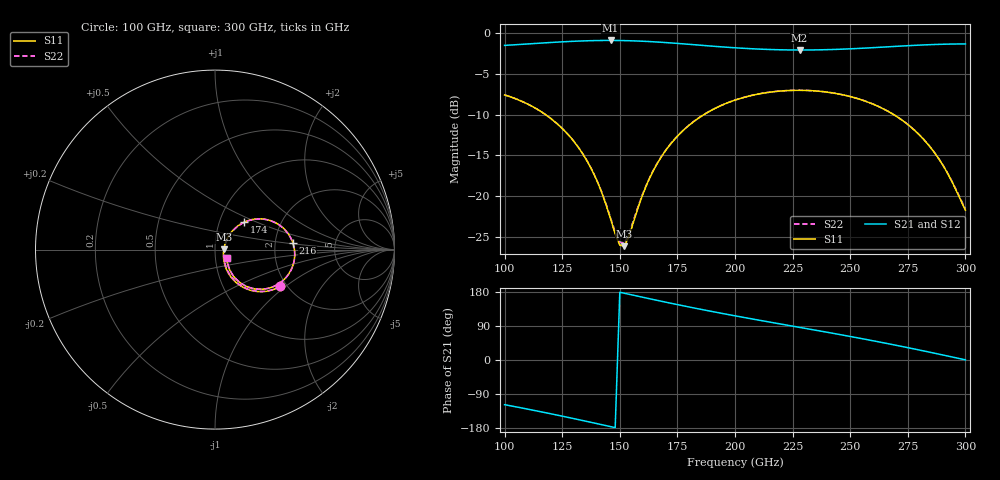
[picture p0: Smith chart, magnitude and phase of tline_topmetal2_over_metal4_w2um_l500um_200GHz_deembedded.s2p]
! Created with skrf 2.2.0 (http://scikit-rf.org).
# GHz S DB R 50.0
! Port[1] = P1
! Port[2] = P2
!freq dBS11 angS11 dBS21 angS21 dBS12 angS12 dBS22 angS22
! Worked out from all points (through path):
!   101 points, 100 GHz to 300 GHz, reference 50 ohm
!   highest |S21| = -0.91 dB at 146 GHz (marker M1); lowest = -2.1 dB at 228 GHz (marker M2)
!   group delay of S21, straight-line fit = 3.31 ps
!   lowest |S11| = -26.1 dB at 152 GHz (marker M3), VSWR 1.10, Z = 55.2 + j0.244 ohm
!   |S11| at or under -10 dB: 117.7 GHz to 186.5 GHz (68.81 GHz wide, 45.2 % of centre); 268.8 GHz to end of sweep
!   |S22| runs from -25.7 to -7.0 dB; largest |S21 - S12| = 9.2e-14
!   S11 on the Smith chart (normalised r, x): 100 GHz: 1.85, -0.92; 174 GHz: 1.31, +0.43; 216 GHz: 2.52, +0.23; 300 GHz: 1.13, -0.11
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100  -7.59 -29.4  -1.51 -117.9  -1.51 -117.9  -7.59 -29.2
120  -10.47 -49.0  -1.16 -141.9  -1.16 -141.9  -10.47 -48.6
128  -12.59 -55.9  -1.03 -152.0  -1.03 -152.0  -12.59 -55.4
134  -14.85 -59.6  -0.96 -159.9  -0.96 -159.9  -14.84 -58.9
140  -18.07 -59.8  -0.92 -167.8  -0.92 -167.8  -18.03 -58.7
146  -22.82 -48.0  -0.91 -175.8  -0.91 -175.8  -22.66 -46.5
150  -26.03 -19.1  -0.92 178.8  -0.92 178.8  -25.66 -18.1
152  -26.15 2.6  -0.93 176.1  -0.93 176.1  -25.75 2.4
162  -18.40 46.2  -1.03 162.9  -1.03 162.9  -18.31 45.3
168  -15.20 46.5  -1.13 155.1  -1.13 155.1  -15.15 45.9
174  -12.96 43.2  -1.25 147.4  -1.25 147.4  -12.94 42.7
186  -10.09 33.1  -1.51 132.8  -1.51 132.8  -10.08 32.8
200  -8.23 20.0  -1.80 116.6  -1.80 116.6  -8.22 19.8
216  -7.22 4.9  -2.02 99.0  -2.02 99.0  -7.22 4.8
228  -7.02 -6.4  -2.08 86.1  -2.08 86.1  -7.02 -6.4
234  -7.08 -11.9  -2.07 79.7  -2.07 79.7  -7.08 -12.0
252  -7.94 -28.7  -1.91 59.8  -1.91 59.8  -7.94 -28.7
268  -9.86 -43.3  -1.66 41.1  -1.66 41.1  -9.85 -43.1
278  -11.95 -51.2  -1.51 28.8  -1.51 28.8  -11.93 -50.9
286  -14.45 -55.1  -1.41 18.7  -1.41 18.7  -14.42 -54.7
292  -17.08 -54.3  -1.36 10.9  -1.36 10.9  -17.03 -53.7
300  -21.74 -37.1  -1.33 0.4  -1.33 0.4  -21.57 -36.4
